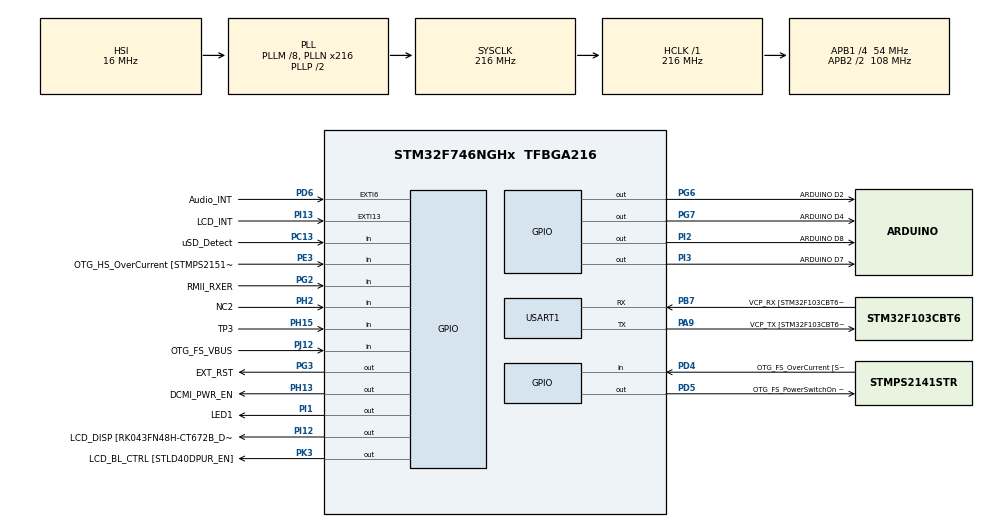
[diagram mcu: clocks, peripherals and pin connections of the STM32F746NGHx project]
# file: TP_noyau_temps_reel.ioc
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FREERTOS.BinarySemaphores01=myBinarySem01,Dynamic,NULL
FREERTOS.Tasks01=defaultTask,0,128,StartDefaultTask,Default,NULL,Dynamic,NULL,NULL
Mcu.Family=STM32F7
Mcu.Name=STM32F746NGHx
Mcu.Package=TFBGA216
NVIC.PriorityGroup=NVIC_PRIORITYGROUP_4
NVIC.TIM6_DAC_IRQn=true\:15\:0\:false\:false\:true\:false\:false\:true\:true
NVIC.TimeBase=TIM6_DAC_IRQn
NVIC.TimeBaseIP=TIM6
PA0/WKUP.GPIO_Label=ARDUINO A0
PA0/WKUP.GPIO_Mode=GPIO_MODE_ANALOG
PA0/WKUP.GPIO_PuPd=GPIO_NOPULL
PA0/WKUP.Signal=ADCx_IN0
PA1.GPIO_Label=RMII_REF_CLK [LAN8742A-CZ-TR_REFCLK0]
PA1.Signal=ETH_REF_CLK
PA10.GPIO_Label=OTG_FS_ID
PA10.Signal=USB_OTG_FS_ID
PA11.GPIO_Label=OTG_FS_N
PA11.Signal=USB_OTG_FS_DM
PA12.GPIO_Label=OTG_FS_P
PA12.Signal=USB_OTG_FS_DP
PA13.GPIO_Label=SWDIO
PA13.Mode=Serial_Wire
PA13.Signal=SYS_JTMS-SWDIO
PA14.GPIO_Label=SWCLK
PA14.Mode=Serial_Wire
PA14.Signal=SYS_JTCK-SWCLK
PA15.GPIO_Label=ARDUINO PWM/D9
PA15.GPIO_ModeDefaultPP=GPIO_MODE_AF_PP
PA15.GPIO_PuPd=GPIO_NOPULL
PA15.GPIO_Speed=GPIO_SPEED_FREQ_LOW
PA15.Signal=S_TIM2_CH1_ETR
PA2.GPIO_Label=RMII_MDIO [LAN8742A-CZ-TR_MDIO]
PA2.Signal=ETH_MDIO
PA3.GPIO_Label=ULPI_D0 [USB3320C-EZK_D0]
PA3.Signal=USB_OTG_HS_ULPI_D0
PA4.GPIO_Label=DCMI_HSYNC
PA4.Signal=DCMI_HSYNC
PA5.GPIO_Label=ULPI_CLK [USB3320C-EZK_CLKOUT]
PA5.Signal=USB_OTG_HS_ULPI_CK
PA6.Signal=DCMI_PIXCLK
PA7.GPIO_Label=RMII_CRS_DV [LAN8742A-CZ-TR_CRS_DV]
PA7.Signal=ETH_CRS_DV
PA8.GPIO_Label=ARDUINO PWM/D10
PA8.GPIO_ModeDefaultPP=GPIO_MODE_AF_PP
PA8.GPIO_PuPd=GPIO_NOPULL
PA8.GPIO_Speed=GPIO_SPEED_FREQ_LOW
PA8.Signal=S_TIM1_CH1
PA9.GPIO_Label=VCP_TX [STM32F103CBT6_PA3]
PA9.GPIO_Mode=GPIO_MODE_AF_PP
PA9.GPIO_PuPd=GPIO_NOPULL
PA9.GPIO_Speed=GPIO_SPEED_FREQ_LOW
PA9.Mode=Asynchronous
PA9.Signal=USART1_TX
PB0.GPIO_Label=ULPI_D1 [USB3320C-EZK_D1]
PB0.Signal=USB_OTG_HS_ULPI_D1
PB1.GPIO_Label=ULPI_D2 [USB3320C-EZK_D2]
PB1.Signal=USB_OTG_HS_ULPI_D2
PB10.GPIO_Label=ULPI_D3 [USB3320C-EZK_D3]
PB10.Signal=USB_OTG_HS_ULPI_D3
PB11.GPIO_Label=ULPI_D4 [USB3320C-EZK_D4]
PB11.Signal=USB_OTG_HS_ULPI_D4
PB12.GPIO_Label=ULPI_D5 [USB3320C-EZK_D5]
PB12.Signal=USB_OTG_HS_ULPI_D5
PB13.GPIO_Label=ULPI_D6 [USB3320C-EZK_D6]
PB13.Signal=USB_OTG_HS_ULPI_D6
PB14.GPIO_Label=ARDUINO MISO/D12
PB14.GPIO_Mode=GPIO_MODE_AF_PP
PB14.GPIO_PuPd=GPIO_NOPULL
PB14.GPIO_Speed=GPIO_SPEED_FREQ_LOW
PB14.Signal=SPI2_MISO
PB15.GPIO_Label=ARDUINO MOSI/PWM/D11
PB15.GPIO_Mode=GPIO_MODE_AF_PP
PB15.GPIO_PuPd=GPIO_NOPULL
PB15.GPIO_Speed=GPIO_SPEED_FREQ_LOW
PB15.Signal=SPI2_MOSI
PB2.Signal=QUADSPI_CLK
PB3.GPIO_Label=SWO
PB3.Signal=SYS_JTDO-SWO
PB4.GPIO_Label=ARDUINO PWM/D3
PB4.GPIO_ModeDefaultPP=GPIO_MODE_AF_PP
PB4.GPIO_PuPd=GPIO_NOPULL
PB4.GPIO_Speed=GPIO_SPEED_FREQ_LOW
PB4.Signal=S_TIM3_CH1
PB5.GPIO_Label=ULPI_D7 [USB3320C-EZK_D7]
PB5.Signal=USB_OTG_HS_ULPI_D7
PB6.GPIO_Label=QSPI_NCS [N25Q128A13EF840E_S]
PB6.Signal=QUADSPI_BK1_NCS
PB7.GPIO_Label=VCP_RX [STM32F103CBT6_PA2]
PB7.GPIO_Mode=GPIO_MODE_AF_PP
PB7.GPIO_PuPd=GPIO_NOPULL
PB7.GPIO_Speed=GPIO_SPEED_FREQ_LOW
PB7.Mode=Asynchronous
PB7.Signal=USART1_RX
PB8.GPIO_Label=ARDUINO SCL/D15
PB8.GPIO_Mode=GPIO_MODE_AF_OD
PB8.GPIO_PuPd=GPIO_NOPULL
PB8.GPIO_Speed=GPIO_SPEED_FREQ_LOW
PB8.Signal=I2C1_SCL
PB9.GPIO_Label=ARDUINO SDA/D14
PB9.GPIO_Mode=GPIO_MODE_AF_OD
PB9.GPIO_PuPd=GPIO_NOPULL
PB9.GPIO_Speed=GPIO_SPEED_FREQ_LOW
PB9.Signal=I2C1_SDA
PC0.GPIO_Label=ULPI_STP [USB3320C-EZK_STP]
PC0.Signal=USB_OTG_HS_ULPI_STP
PC1.GPIO_Label=RMII_MDC [LAN8742A-CZ-TR_MDC]
PC1.Signal=ETH_MDC
PC10.GPIO_Label=SDMMC_D2
PC10.Signal=SDMMC1_D2
PC11.GPIO_Label=SDMMC_D3
PC11.Signal=SDMMC1_D3
PC12.GPIO_Label=SDMMC_CK
PC12.Signal=SDMMC1_CK
PC13.GPIO_Label=uSD_Detect
PC13.Signal=GPIO_Input
PC14/OSC32_IN.GPIO_Label=RCC_OSC32_IN
PC14/OSC32_IN.Signal=RCC_OSC32_IN
PC15/OSC32_OUT.GPIO_Label=RCC_OSC32_OUT
PC15/OSC32_OUT.Signal=RCC_OSC32_OUT
PC2.GPIO_Label=ULPI_DIR [USB3320C-EZK_DIR]
PC2.Signal=USB_OTG_HS_ULPI_DIR
PC3.GPIO_Label=FMC_SDCKE0 [MT48LC4M32B2B5-6A_CKE]
PC3.Signal=FMC_SDCKE0
PC4.GPIO_Label=RMII_RXD0 [LAN8742A-CZ-TR_RXD0]
PC4.Signal=ETH_RXD0
PC5.GPIO_Label=RMII_RXD1 [LAN8742A-CZ-TR_RXD1]
PC5.Signal=ETH_RXD1
PC6.GPIO_Label=ARDUINO TX/D1
PC6.Signal=USART6_TX
PC7.GPIO_Label=ARDUINO RX/D0
PC7.Signal=USART6_RX
PC8.Signal=SDMMC1_D0
PC9.Signal=SDMMC1_D1
PD0.GPIO_Label=FMC_D2 [MT48LC4M32B2B5-6A_DQ2]
PD0.Signal=FMC_D2_DA2
PD1.GPIO_Label=FMC_D3 [MT48LC4M32B2B5-6A_DQ3]
PD1.Signal=FMC_D3_DA3
PD10.GPIO_Label=FMC_D15 [MT48LC4M32B2B5-6A_DQ15]
PD10.Signal=FMC_D15_DA15
PD11.GPIO_Label=QSPI_D0 [N25Q128A13EF840E_DQ0]
PD11.Signal=QUADSPI_BK1_IO0
PD12.GPIO_Label=QSPI_D1 [N25Q128A13EF840E_DQ1]
PD12.Signal=QUADSPI_BK1_IO1
PD13.GPIO_Label=QSPI_D3 [N25Q128A13EF840E_DQ3]
PD13.Signal=QUADSPI_BK1_IO3
PD14.GPIO_Label=FMC_D0 [MT48LC4M32B2B5-6A_DQ0]
PD14.Signal=FMC_D0_DA0
PD15.GPIO_Label=FMC_D1 [MT48LC4M32B2B5-6A_DQ1]
PD15.Signal=FMC_D1_DA1
PD2.GPIO_Label=SDMMC_D0
PD2.Signal=SDMMC1_CMD
PD3.GPIO_Label=DCMI_D5
PD3.Signal=DCMI_D5
PD4.GPIO_Label=OTG_FS_OverCurrent [STMPS2141STR_Fault]
PD4.Signal=GPIO_Input
PD5.GPIO_Label=OTG_FS_PowerSwitchOn [STMPS2141STR_EN]
PD5.PinState=GPIO_PIN_SET
PD5.Signal=GPIO_Output
PD6.GPIO_Label=Audio_INT
PD6.GPIO_ModeDefaultEXTI=GPIO_MODE_EVT_RISING
PD6.Signal=GPXTI6
PD7.GPIO_Label=SPDIF_RX0 [74LVC1G04SE_4]
PD7.Signal=SPDIFRX_IN0
PD8.GPIO_Label=FMC_D13 [MT48LC4M32B2B5-6A_DQ13]
PD8.Signal=FMC_D13_DA13
PD9.GPIO_Label=FMC_D14 [MT48LC4M32B2B5-6A_DQ14]
PD9.Signal=FMC_D14_DA14
PE0.GPIO_Label=FMC_NBL0 [MT48LC4M32B2B5-6A_DQM0]
PE0.Signal=FMC_NBL0
PE1.GPIO_Label=FMC_NBL1 [MT48LC4M32B2B5-6A_DQM1]
PE1.Signal=FMC_NBL1
PE10.GPIO_Label=FMC_D7 [MT48LC4M32B2B5-6A_DQ7]
PE10.Signal=FMC_D7_DA7
PE11.GPIO_Label=FMC_D8 [MT48LC4M32B2B5-6A_DQ8]
PE11.Signal=FMC_D8_DA8
PE12.GPIO_Label=FMC_D9 [MT48LC4M32B2B5-6A_DQ9]
PE12.Signal=FMC_D9_DA9
PE13.GPIO_Label=FMC_D10 [MT48LC4M32B2B5-6A_DQ10]
PE13.Signal=FMC_D10_DA10
PE14.GPIO_Label=FMC_D11 [MT48LC4M32B2B5-6A_DQ11]
PE14.Signal=FMC_D11_DA11
PE15.GPIO_Label=FMC_D12 [MT48LC4M32B2B5-6A_DQ12]
PE15.Signal=FMC_D12_DA12
PE2.GPIO_Label=QSPI_D2 [N25Q128A13EF840E_DQ2]
PE2.Signal=QUADSPI_BK1_IO2
PE3.GPIO_Label=OTG_HS_OverCurrent [STMPS2151STR_FAULT]
PE3.Signal=GPIO_Input
PE4.GPIO_Label=LCD_B0 [RK043FN48H-CT672B_B0]
PE4.Signal=LTDC_B0
PE5.GPIO_Label=DCMI_D6
PE5.Signal=DCMI_D6
PE6.GPIO_Label=DCMI_D7
PE6.Signal=DCMI_D7
PE7.GPIO_Label=FMC_D4 [MT48LC4M32B2B5-6A_DQ4]
PE7.Signal=FMC_D4_DA4
PE8.GPIO_Label=FMC_D5 [MT48LC4M32B2B5-6A_DQ5]
PE8.Signal=FMC_D5_DA5
PE9.GPIO_Label=FMC_D6 [MT48LC4M32B2B5-6A_DQ6]
PE9.Signal=FMC_D6_DA6
PF0.GPIO_Label=FMC_A0 [MT48LC4M32B2B5-6A_A0]
PF0.Signal=FMC_A0
PF1.GPIO_Label=FMC_A1 [MT48LC4M32B2B5-6A_A1]
PF1.Signal=FMC_A1
PF10.GPIO_Label=ARDUINO A1
PF10.GPIO_Mode=GPIO_MODE_ANALOG
PF10.GPIO_PuPd=GPIO_NOPULL
PF10.Signal=ADC3_IN8
PF11.GPIO_Label=FMC_SDNRAS [MT48LC4M32B2B5-6A_RAS]
PF11.Signal=FMC_SDNRAS
PF12.GPIO_Label=FMC_A6 [MT48LC4M32B2B5-6A_A6]
PF12.Signal=FMC_A6
PF13.GPIO_Label=FMC_A7 [MT48LC4M32B2B5-6A_A7]
PF13.Signal=FMC_A7
PF14.GPIO_Label=FMC_A8 [MT48LC4M32B2B5-6A_A8]
PF14.Signal=FMC_A8
PF15.GPIO_Label=FMC_A9 [MT48LC4M32B2B5-6A_A9]
PF15.Signal=FMC_A9
PF2.GPIO_Label=FMC_A2 [MT48LC4M32B2B5-6A_A2]
PF2.Signal=FMC_A2
PF3.GPIO_Label=FMC_A3 [MT48LC4M32B2B5-6A_A3]
PF3.Signal=FMC_A3
PF4.GPIO_Label=FMC_A4 [MT48LC4M32B2B5-6A_A4]
PF4.Signal=FMC_A4
PF5.GPIO_Label=FMC_A5 [MT48LC4M32B2B5-6A_A5]
PF5.Signal=FMC_A5
PF6.GPIO_Label=ARDUINO A5
PF6.GPIO_Mode=GPIO_MODE_ANALOG
PF6.GPIO_PuPd=GPIO_NOPULL
PF6.Signal=ADC3_IN4
PF7.GPIO_Label=ARDUINO A4
PF7.GPIO_Mode=GPIO_MODE_ANALOG
PF7.GPIO_PuPd=GPIO_NOPULL
PF7.Signal=ADC3_IN5
PF8.GPIO_Label=ARDUINO A3
PF8.GPIO_Mode=GPIO_MODE_ANALOG
PF8.GPIO_PuPd=GPIO_NOPULL
PF8.Signal=ADC3_IN6
PF9.GPIO_Label=ARDUINO A2
PF9.GPIO_Mode=GPIO_MODE_ANALOG
PF9.GPIO_PuPd=GPIO_NOPULL
PF9.Signal=ADC3_IN7
PG0.GPIO_Label=FMC_A10 [MT48LC4M32B2B5-6A_A10]
PG0.Signal=FMC_A10
PG1.GPIO_Label=FMC_A11 [MT48LC4M32B2B5-6A_A11]
PG1.Signal=FMC_A11
PG10.GPIO_Label=SAI2_SDB [WM8994ECS/R_ADCDAT1]
PG10.Signal=SAI2_SD_B
PG11.GPIO_Label=RMII_TX_EN [LAN8742A-CZ-TR_TXEN]
PG11.Signal=ETH_TX_EN
PG12.GPIO_Label=LCD_B4 [RK043FN48H-CT672B_B4]
PG12.Signal=LTDC_B4
PG13.GPIO_Label=RMII_TXD0 [LAN8742A-CZ-TR_TXD0]
PG13.Signal=ETH_TXD0
PG14.GPIO_Label=RMII_TXD1 [LAN8742A-CZ-TR_TXD1]
PG14.Signal=ETH_TXD1
PG15.GPIO_Label=FMC_SDNCAS [MT48LC4M32B2B5-6A_CAS]
PG15.Signal=FMC_SDNCAS
PG2.GPIO_Label=RMII_RXER
PG2.Signal=GPIO_Input
PG3.GPIO_Label=EXT_RST
PG3.Signal=GPIO_Output
PG4.GPIO_Label=FMC_BA0 [MT48LC4M32B2B5-6A_BA0]
PG4.Signal=FMC_A14_BA0
PG5.GPIO_Label=FMC_BA1 [MT48LC4M32B2B5-6A_BA1]
PG5.Signal=FMC_A15_BA1
PG6.GPIO_Label=ARDUINO D2
PG6.Signal=GPIO_Output
PG7.GPIO_Label=ARDUINO D4
PG7.Signal=GPIO_Output
PG8.GPIO_Label=FMC_SDCLK [MT48LC4M32B2B5-6A_CLK]
PG8.Signal=FMC_SDCLK
PG9.GPIO_Label=DCMI_VSYNC
PG9.Signal=DCMI_VSYNC
PH0/OSC_IN.GPIO_Label=OSC_25M [NZ2520SB-25.00M_OUT]
PH0/OSC_IN.Mode=HSE-External-Oscillator
PH0/OSC_IN.Signal=RCC_OSC_IN
PH1/OSC_OUT.Mode=HSE-External-Oscillator
PH1/OSC_OUT.Signal=RCC_OSC_OUT
PH10.GPIO_Label=DCMI_D1
PH10.Signal=DCMI_D1
PH11.GPIO_Label=DCMI_D2
PH11.Signal=DCMI_D2
PH12.GPIO_Label=DCMI_D3
PH12.Signal=DCMI_D3
PH13.GPIO_Label=DCMI_PWR_EN
PH13.Signal=GPIO_Output
PH14.GPIO_Label=DCMI_D4
PH14.Signal=DCMI_D4
PH15.GPIO_Label=TP3
PH15.Signal=GPIO_Input
PH2.GPIO_Label=NC2
PH2.Signal=GPIO_Input
PH3.GPIO_Label=FMC_SDNE0 [MT48LC4M32B2B5-6A_CS]
PH3.Signal=FMC_SDNE0
PH4.GPIO_Label=ULPI_NXT [USB3320C-EZK_NXT]
PH4.Signal=USB_OTG_HS_ULPI_NXT
PH5.GPIO_Label=FMC_SDNME [MT48LC4M32B2B5-6A_WE]
PH5.Signal=FMC_SDNWE
PH6.GPIO_Label=ARDUINO PWM/D6
PH6.Signal=S_TIM12_CH1
PH7.GPIO_Label=LCD_SCL [RK043FN48H-CT672B_SCL]
PH7.Signal=I2C3_SCL
PH8.GPIO_Label=LCD_SDA [RK043FN48H-CT672B_SDA]
PH8.Signal=I2C3_SDA
PH9.GPIO_Label=DCMI_D0
PH9.Signal=DCMI_D0
PI0.GPIO_Label=ARDUINO PWM/CS/D5
PI0.GPIO_ModeDefaultPP=GPIO_MODE_AF_PP
PI0.GPIO_PuPd=GPIO_NOPULL
PI0.GPIO_Speed=GPIO_SPEED_FREQ_LOW
PI0.Signal=S_TIM5_CH4
PI1.GPIO_Label=LED1
PI1.Signal=GPIO_Output
PI10.GPIO_Label=LCD_HSYNC [RK043FN48H-CT672B_HSYNC]
PI10.Signal=LTDC_HSYNC
PI12.GPIO_Label=LCD_DISP [RK043FN48H-CT672B_DISP] 
PI12.Signal=GPIO_Output
PI13.GPIO_Label=LCD_INT
PI13.GPIO_ModeDefaultEXTI=GPIO_MODE_EVT_RISING
PI13.Signal=GPXTI13
PI14.GPIO_Label=LCD_CLK [RK043FN48H-CT672B_CLK]
PI14.Signal=LTDC_CLK
PI15.GPIO_Label=LCD_R0 [RK043FN48H-CT672B_R0]
PI15.Signal=LTDC_R0
PI2.GPIO_Label=ARDUINO D8
PI2.Signal=GPIO_Output
PI3.GPIO_Label=ARDUINO D7
PI3.Signal=GPIO_Output
PI4.GPIO_Label=SAI2_MCLKA [WM8994ECS/R_MCLK1]
PI4.Signal=SAI2_MCLK_A
PI5.GPIO_Label=SAI2_SCKA [WM8994ECS/R_BCLK1]
PI5.Signal=SAI2_SCK_A
PI6.GPIO_Label=SAI2_SDA [WM8994ECS/R_DACDAT1]
PI6.Signal=SAI2_SD_A
PI7.GPIO_Label=SAI2_FSA [WM8994ECS/R_LRCLK1]
PI7.Signal=SAI2_FS_A
PI8.GPIO_Label=NC1 [TP2]
PI8.Signal=RTC_TS
PI9.GPIO_Label=LCD_VSYNC [RK043FN48H-CT672B_VSYNC]
PI9.Signal=LTDC_VSYNC
PJ0.GPIO_Label=LCD_R1 [RK043FN48H-CT672B_R1]
PJ0.Signal=LTDC_R1
PJ1.GPIO_Label=LCD_R2 [RK043FN48H-CT672B_R2]
PJ1.Signal=LTDC_R2
PJ10.GPIO_Label=LCD_G3 [RK043FN48H-CT672B_G3]
PJ10.Signal=LTDC_G3
PJ11.GPIO_Label=LCD_G4 [RK043FN48H-CT672B_G4]
PJ11.Signal=LTDC_G4
PJ12.GPIO_Label=OTG_FS_VBUS
PJ12.Signal=GPIO_Input
PJ13.GPIO_Label=LCD_B1 [RK043FN48H-CT672B_B1]
PJ13.Signal=LTDC_B1
PJ14.GPIO_Label=LCD_B2 [RK043FN48H-CT672B_B2]
PJ14.Signal=LTDC_B2
PJ15.GPIO_Label=LCD_B3 [RK043FN48H-CT672B_B3]
PJ15.Signal=LTDC_B3
PJ2.GPIO_Label=LCD_R3 [RK043FN48H-CT672B_R3]
PJ2.Signal=LTDC_R3
PJ3.GPIO_Label=LCD_R4 [RK043FN48H-CT672B_R4]
PJ3.Signal=LTDC_R4
PJ4.GPIO_Label=LCD_R5 [RK043FN48H-CT672B_R5]
PJ4.Signal=LTDC_R5
PJ5.GPIO_Label=LCD_R6 [RK043FN48H-CT672B_R6]
PJ5.Signal=LTDC_R6
PJ6.GPIO_Label=LCD_R7 [RK043FN48H-CT672B_R7]
PJ6.Signal=LTDC_R7
PJ7.GPIO_Label=LCD_G0 [RK043FN48H-CT672B_G0]
PJ7.Signal=LTDC_G0
PJ8.GPIO_Label=LCD_G1 [RK043FN48H-CT672B_G1]
PJ8.Signal=LTDC_G1
PJ9.GPIO_Label=LCD_G2 [RK043FN48H-CT672B_G2]
PJ9.Signal=LTDC_G2
PK0.GPIO_Label=LCD_G5 [RK043FN48H-CT672B_G5]
PK0.Signal=LTDC_G5
PK1.GPIO_Label=LCD_G6 [RK043FN48H-CT672B_G6]
PK1.Signal=LTDC_G6
PK2.GPIO_Label=LCD_G7 [RK043FN48H-CT672B_G7]
PK2.Signal=LTDC_G7
PK3.GPIO_Label=LCD_BL_CTRL [STLD40DPUR_EN]
PK3.Signal=GPIO_Output
PK4.GPIO_Label=LCD_B5 [RK043FN48H-CT672B_B5]
PK4.Signal=LTDC_B5
PK5.GPIO_Label=LCD_B6 [RK043FN48H-CT672B_B6]
PK5.Signal=LTDC_B6
PK6.GPIO_Label=LCD_B7 [RK043FN48H-CT672B_B7]
PK6.Signal=LTDC_B7
PK7.GPIO_Label=LCD_DE [RK043FN48H-CT672B_DE]
PK7.Signal=LTDC_DE
ProjectManager.HeapSize=0x200
ProjectManager.StackSize=0x400
ProjectManager.TargetToolchain=STM32CubeIDE
RCC.AHBFreq_Value=216000000
RCC.APB1CLKDivider=RCC_HCLK_DIV4
RCC.APB1Freq_Value=54000000
RCC.APB1TimFreq_Value=108000000
RCC.APB2CLKDivider=RCC_HCLK_DIV2
RCC.APB2Freq_Value=108000000
RCC.APB2TimFreq_Value=216000000
RCC.CortexFreq_Value=216000000
RCC.HCLKFreq_Value=216000000
RCC.HSE_VALUE=25000000
RCC.HSI_VALUE=16000000
RCC.LSE_VALUE=32768
RCC.PLLM=8
RCC.PLLN=216
RCC.PLLSourceVirtual=RCC_PLLSOURCE_HSI
RCC.SYSCLKFreq_VALUE=216000000
RCC.SYSCLKSource=RCC_SYSCLKSOURCE_PLLCLK
RCC.USBFreq_Value=216000000
RCC.VCOOutputFreq_Value=432000000
SH.ADCx_IN0.0=ADC3_IN0
SH.FMC_A0.0=FMC_A0
SH.FMC_A1.0=FMC_A1
SH.FMC_A10.0=FMC_A10
SH.FMC_A11.0=FMC_A11
SH.FMC_A14_BA0.0=FMC_BA0
SH.FMC_A15_BA1.0=FMC_BA1
SH.FMC_A2.0=FMC_A2
SH.FMC_A3.0=FMC_A3
SH.FMC_A4.0=FMC_A4
SH.FMC_A5.0=FMC_A5
SH.FMC_A6.0=FMC_A6
SH.FMC_A7.0=FMC_A7
SH.FMC_A8.0=FMC_A8
SH.FMC_A9.0=FMC_A9
SH.FMC_D0_DA0.0=FMC_D0
SH.FMC_D10_DA10.0=FMC_D10
SH.FMC_D11_DA11.0=FMC_D11
SH.FMC_D12_DA12.0=FMC_D12
SH.FMC_D13_DA13.0=FMC_D13
SH.FMC_D14_DA14.0=FMC_D14
SH.FMC_D15_DA15.0=FMC_D15
SH.FMC_D1_DA1.0=FMC_D1
SH.FMC_D2_DA2.0=FMC_D2
SH.FMC_D3_DA3.0=FMC_D3
SH.FMC_D4_DA4.0=FMC_D4
SH.FMC_D5_DA5.0=FMC_D5
SH.FMC_D6_DA6.0=FMC_D6
SH.FMC_D7_DA7.0=FMC_D7
SH.FMC_D8_DA8.0=FMC_D8
SH.FMC_D9_DA9.0=FMC_D9
SH.FMC_NBL0.0=FMC_NBL0
SH.FMC_NBL1.0=FMC_NBL1
SH.FMC_SDCLK.0=FMC_SDCLK
SH.FMC_SDNCAS.0=FMC_SDNCAS
SH.FMC_SDNRAS.0=FMC_SDNRAS
SH.FMC_SDNWE.0=FMC_SDNWE
SH.S_TIM12_CH1.0=TIM12_CH1
SH.S_TIM1_CH1.0=TIM1_CH1
SH.S_TIM2_CH1_ETR.0=TIM2_CH1
SH.S_TIM3_CH1.0=TIM3_CH1
SH.S_TIM5_CH4.0=TIM5_CH4
USART1.VirtualMode-Asynchronous=VM_ASYNC
VP_FREERTOS_VS_CMSIS_V1.Mode=CMSIS_V1
VP_SYS_VS_tim6.Mode=TIM6
board=STM32F746G-DISCO

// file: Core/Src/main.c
/* USER CODE BEGIN Header */
/**
 ******************************************************************************
 * @file           : main.c
 * @brief          : Main program body
 ******************************************************************************
 * @attention
 *
 * Copyright (c) 2024 STMicroelectronics.
 * All rights reserved.
 *
 * This software is licensed under terms that can be found in the LICENSE file
 * in the root directory of this software component.
 * If no LICENSE file comes with this software, it is provided AS-IS.
 *
 ******************************************************************************
 */
/* USER CODE END Header */
#include "main.h"
#include "cmsis_os.h"
#include "usart.h"
#include "gpio.h"
#include "semphr.h"
#include "task.h"
#include "queue.h"
#include "FreeRTOSConfig.h"

#define Q_UART1_LENGTH 10
#define Q_UART1_SIZE sizeof(uint8_t)

void SystemClock_Config(void);
void MX_FREERTOS_Init(void);

/* USER CODE BEGIN 0 */

SemaphoreHandle_t myBinarySem01; // handle semaphore

TaskHandle_t xTaskGiveHandle; //handle tache
TaskHandle_t xTaskTakeHandle; //handle tache

QueueHandle_t timerQueue; //handle queue

uint8_t timer_value = 0;

void giveTask(void const * argument)
{
	uint32_t delay = 100;

	for(;;)
	{
		printf("Giving \r\n");
		vTaskDelay(delay/portTICK_PERIOD_MS);
		xTaskNotifyGive(xTaskTakeHandle); //notification

		//xSemaphoreGive(myBinarySem01); //semaphore

		uint8_t timer_value = HAL_GetTick();

		BaseType_t higher_priority_task_woken = pdFALSE;
		if (xQueueSend(timerQueue,(void *)&timer_value,portMAX_DELAY) != pdPASS){
			printf("Failed to send data to queue\r\n");
		}
		printf("Token given \r\n");
		delay = delay + 100;
	}
}
void takeTask(void const * argument)
{
	uint8_t char_to_process;
	for(;;)
	{
		/*if(xSemaphoreTake(myBinarySem01,1000) == pdTRUE){
			printf("Took \n \r");
		}*/

		if(ulTaskNotifyTake(pdTRUE,1000))
		{
			xQueueReceive(timerQueue, (void *)&char_to_process - timer_value,portMAX_DELAY);
			printf("time took to recieve : %d ms\r\n",char_to_process);
			printf("Took \r\n");
		}

		else
		{
			printf("Error \r\n");
			HAL_NVIC_SystemReset();
		}

	}
}

int __io_putchar(int ch) {  //code printf
	HAL_UART_Transmit(&huart1, (uint8_t *)&ch, 1, HAL_MAX_DELAY);
	return ch;
}

/* USER CODE END 0 */

int main(void)
{

	/* MCU Configuration--------------------------------------------------------*/

	/* Reset of all peripherals, Initializes the Flash interface and the Systick. */
	HAL_Init();

	/* Configure the system clock */
	SystemClock_Config();

	/* Initialize all configured peripherals */
	MX_GPIO_Init();
	MX_USART1_UART_Init();
	/* USER CODE BEGIN 2 */

	myBinarySem01 = xSemaphoreCreateBinary();

	timerQueue = xQueueCreate(Q_UART1_LENGTH, Q_UART1_SIZE);

	xTaskCreate(giveTask,
			"Give",
			256,
			NULL,
			1,
			&xTaskGiveHandle
	);

	xTaskCreate(takeTask,
			"Take",
			256,
			NULL,
			2,
			&xTaskTakeHandle
	);

	vTaskStartScheduler();

	/* USER CODE END 2 */

	/* Call init function for freertos objects (in freertos.c) */
	MX_FREERTOS_Init();

	/* Start scheduler */
	osKernelStart();

	/* We should never get here as control is now taken by the scheduler */
	/* Infinite loop */
	while (1)
	{

	}
}

void SystemClock_Config(void)
{
	RCC_OscInitTypeDef RCC_OscInitStruct = {0};
	RCC_ClkInitTypeDef RCC_ClkInitStruct = {0};

	/** Configure the main internal regulator output voltage
	 */
	__HAL_RCC_PWR_CLK_ENABLE();
	__HAL_PWR_VOLTAGESCALING_CONFIG(PWR_REGULATOR_VOLTAGE_SCALE1);

	/** Initializes the RCC Oscillators according to the specified parameters
	 * in the RCC_OscInitTypeDef structure.
	 */
	RCC_OscInitStruct.OscillatorType = RCC_OSCILLATORTYPE_HSI;
	RCC_OscInitStruct.HSIState = RCC_HSI_ON;
	RCC_OscInitStruct.HSICalibrationValue = RCC_HSICALIBRATION_DEFAULT;
	RCC_OscInitStruct.PLL.PLLState = RCC_PLL_ON;
	RCC_OscInitStruct.PLL.PLLSource = RCC_PLLSOURCE_HSI;
	RCC_OscInitStruct.PLL.PLLM = 8;
	RCC_OscInitStruct.PLL.PLLN = 216;
	RCC_OscInitStruct.PLL.PLLP = RCC_PLLP_DIV2;
	RCC_OscInitStruct.PLL.PLLQ = 2;
	if (HAL_RCC_OscConfig(&RCC_OscInitStruct) != HAL_OK)
	{
		Error_Handler();
	}

	/** Activate the Over-Drive mode
	 */
	if (HAL_PWREx_EnableOverDrive() != HAL_OK)
	{
		Error_Handler();
	}

	/** Initializes the CPU, AHB and APB buses clocks
	 */
	RCC_ClkInitStruct.ClockType = RCC_CLOCKTYPE_HCLK|RCC_CLOCKTYPE_SYSCLK
			|RCC_CLOCKTYPE_PCLK1|RCC_CLOCKTYPE_PCLK2;
	RCC_ClkInitStruct.SYSCLKSource = RCC_SYSCLKSOURCE_PLLCLK;
	RCC_ClkInitStruct.AHBCLKDivider = RCC_SYSCLK_DIV1;
	RCC_ClkInitStruct.APB1CLKDivider = RCC_HCLK_DIV4;
	RCC_ClkInitStruct.APB2CLKDivider = RCC_HCLK_DIV2;

	if (HAL_RCC_ClockConfig(&RCC_ClkInitStruct, FLASH_LATENCY_7) != HAL_OK)
	{
		Error_Handler();
	}
}

void HAL_TIM_PeriodElapsedCallback(TIM_HandleTypeDef *htim)
{
	if (htim->Instance == TIM6) {
		HAL_IncTick();
	}
}

void Error_Handler(void)
{
	__disable_irq();
	while (1)
	{
	}
}

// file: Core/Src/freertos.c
/* USER CODE BEGIN Header */
/**
  ******************************************************************************
  * File Name          : freertos.c
  * Description        : Code for freertos applications
  ******************************************************************************
  * @attention
  *
  * Copyright (c) 2024 STMicroelectronics.
  * All rights reserved.
  *
  * This software is licensed under terms that can be found in the LICENSE file
  * in the root directory of this software component.
  * If no LICENSE file comes with this software, it is provided AS-IS.
  *
  ******************************************************************************
  */
/* USER CODE END Header */

#include "FreeRTOS.h"
#include "task.h"
#include "main.h"
#include "cmsis_os.h"
#include "usart.h"

osThreadId defaultTaskHandle;
osSemaphoreId myBinarySem01Handle;

void StartDefaultTask(void const * argument);

void MX_FREERTOS_Init(void); /* (MISRA C 2004 rule 8.1) */

/* GetIdleTaskMemory prototype (linked to static allocation support) */
void vApplicationGetIdleTaskMemory( StaticTask_t **ppxIdleTaskTCBBuffer, StackType_t **ppxIdleTaskStackBuffer, uint32_t *pulIdleTaskStackSize );

/* USER CODE BEGIN GET_IDLE_TASK_MEMORY */
static StaticTask_t xIdleTaskTCBBuffer;
static StackType_t xIdleStack[configMINIMAL_STACK_SIZE];

void vApplicationGetIdleTaskMemory( StaticTask_t **ppxIdleTaskTCBBuffer, StackType_t **ppxIdleTaskStackBuffer, uint32_t *pulIdleTaskStackSize )
{
  *ppxIdleTaskTCBBuffer = &xIdleTaskTCBBuffer;
  *ppxIdleTaskStackBuffer = &xIdleStack[0];
  *pulIdleTaskStackSize = configMINIMAL_STACK_SIZE;
  /* place for user code */
}
/* USER CODE END GET_IDLE_TASK_MEMORY */

void MX_FREERTOS_Init(void) {

  /* Create the semaphores(s) */
  /* definition and creation of myBinarySem01 */
  osSemaphoreDef(myBinarySem01);
  myBinarySem01Handle = osSemaphoreCreate(osSemaphore(myBinarySem01), 1);

  /* Create the thread(s) */
  /* definition and creation of defaultTask */
  osThreadDef(defaultTask, StartDefaultTask, osPriorityNormal, 0, 128);
  defaultTaskHandle = osThreadCreate(osThread(defaultTask), NULL);

}

void StartDefaultTask(void const * argument)
{
  /* USER CODE BEGIN StartDefaultTask */
  /* Infinite loop */
  for(;;)
  {
	HAL_GPIO_TogglePin(GPIOI, LED1_Pin);
    osDelay(100/portTICK_PERIOD_MS);
  }
  /* USER CODE END StartDefaultTask */
}
